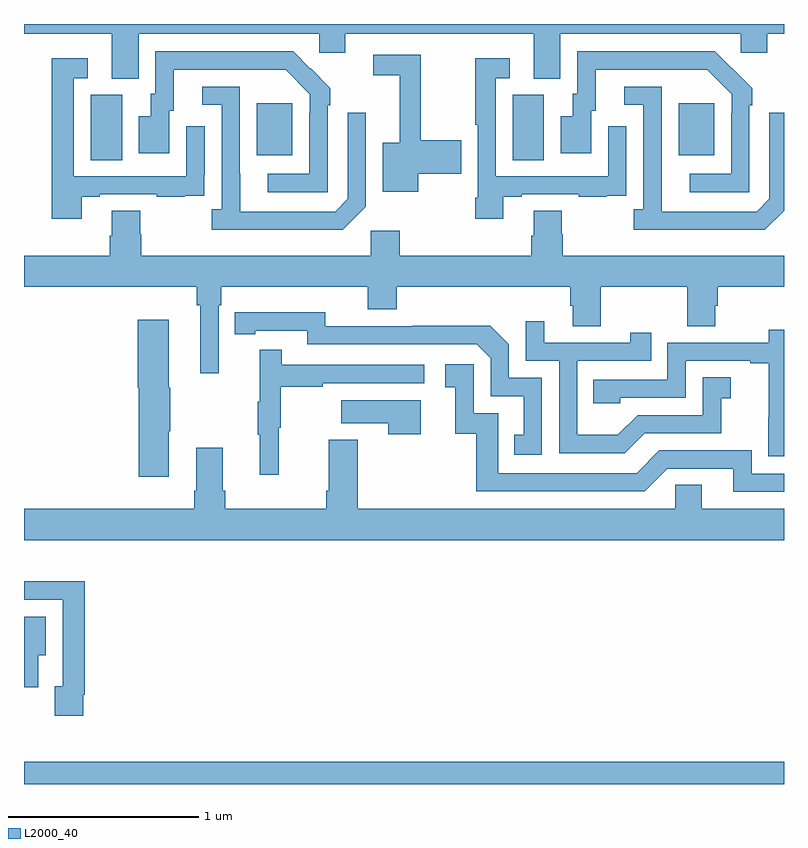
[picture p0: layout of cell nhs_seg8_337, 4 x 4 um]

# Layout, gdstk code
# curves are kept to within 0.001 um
import gdstk
lib = gdstk.Library(unit=1e-6, precision=1e-09)
def R(c, l, rs):  # rectangles x0, y0, x1, y1
    for r in rs: c.add(gdstk.rectangle(r[:2], r[2:], *l))
def P(c, l, *ps):  # polygons
    for p in ps: c.add(gdstk.Polygon(p, *l))
L2000_40 = (2000, 40)

nhs_seg8_337 = lib.new_cell('nhs_seg8_337')
R(nhs_seg8_337, L2000_40, [(133,1097.9,137,1098.016), (133.352,1101.184,133.516,1101.528), (135.572,1101.184,135.736,1101.528), (134.225,1101.209,134.413,1101.484), (136.445,1101.209,136.633,1101.484)])
P(nhs_seg8_337, L2000_40, [(133.603,1101.848),(134.553,1101.848),(134.553,1101.75),(134.692,1101.75),(134.692,1101.848),(135.683,1101.848),(135.683,1101.613),(135.823,1101.613),(135.823,1101.848),(136.773,1101.848),(136.773,1101.75),(136.912,1101.75),(136.912,1101.848),(137,1101.848),(137,1101.9),(133,1101.9),(133,1101.848),(133.463,1101.848),(133.463,1101.613),(133.603,1101.613)],
  [(134.598,1101.473),(134.613,1101.473),(134.613,1101.561),(134.416,1101.756),(133.692,1101.756),(133.692,1101.534),(133.667,1101.534),(133.667,1101.415),(133.604,1101.415),(133.604,1101.219),(133.765,1101.219),(133.765,1101.444),(133.789,1101.444),(133.789,1101.66),(134.377,1101.66),(134.505,1101.531),(134.505,1101.431),(134.502,1101.431),(134.502,1101.111),(134.283,1101.111),(134.283,1101.015),(134.598,1101.015)],
  [(136.818,1101.473),(136.833,1101.473),(136.833,1101.561),(136.636,1101.756),(135.912,1101.756),(135.912,1101.534),(135.887,1101.534),(135.887,1101.415),(135.824,1101.415),(135.824,1101.219),(135.985,1101.219),(135.985,1101.444),(136.009,1101.444),(136.009,1101.66),(136.597,1101.66),(136.725,1101.531),(136.725,1101.431),(136.722,1101.431),(136.722,1101.111),(136.503,1101.111),(136.503,1101.015),(136.818,1101.015)],
  [(135.076,1101.112),(135.301,1101.112),(135.301,1101.287),(135.088,1101.287),(135.088,1101.738),(134.838,1101.738),(134.838,1101.63),(134.978,1101.63),(134.978,1101.274),(134.888,1101.274),(134.888,1101.017),(135.076,1101.017)],
  [(133.303,1100.991),(133.399,1100.991),(133.399,1101.003),(133.699,1101.003),(133.699,1100.991),(133.847,1100.991),(133.847,1100.997),(133.949,1100.997),(133.949,1101.106),(133.95,1101.106),(133.95,1101.361),(133.854,1101.361),(133.854,1101.099),(133.263,1101.099),(133.263,1101.615),(133.336,1101.615),(133.336,1101.721),(133.147,1101.721),(133.147,1100.874),(133.303,1100.874)],
  [(135.523,1100.991),(135.619,1100.991),(135.619,1101.003),(135.919,1101.003),(135.919,1100.991),(136.067,1100.991),(136.067,1100.997),(136.169,1100.997),(136.169,1101.106),(136.17,1101.106),(136.17,1101.361),(136.074,1101.361),(136.074,1101.099),(135.483,1101.099),(135.483,1101.615),(135.556,1101.615),(135.556,1101.721),(135.375,1101.721),(135.375,1101.37),(135.387,1101.37),(135.387,1100.986),(135.374,1100.986),(135.374,1100.874),(135.523,1100.874)],
  [(137,1100.918),(137,1101.433),(136.923,1101.433),(136.923,1100.979),(136.857,1100.913),(136.357,1100.913),(136.356,1101.57),(136.158,1101.57),(136.158,1101.474),(136.26,1101.474),(136.26,1100.926),(136.209,1100.926),(136.209,1100.816),(136.898,1100.816)],
  [(134.799,1100.937),(134.799,1101.433),(134.703,1101.433),(134.703,1100.979),(134.637,1100.913),(134.137,1100.913),(134.136,1101.57),(133.938,1101.57),(133.938,1101.474),(134.04,1101.474),(134.04,1100.926),(133.989,1100.926),(133.989,1100.816),(134.678,1100.816)],
  [(135.875,1100.418),(135.887,1100.418),(135.887,1100.308),(136.035,1100.308),(136.035,1100.516),(136.492,1100.516),(136.492,1100.308),(136.639,1100.308),(136.639,1100.418),(136.652,1100.418),(136.652,1100.516),(137,1100.516),(137,1100.68),(135.836,1100.68),(135.836,1100.793),(135.831,1100.793),(135.831,1100.918),(135.683,1100.918),(135.683,1100.786),(135.671,1100.786),(135.671,1100.68),(134.978,1100.68),(134.978,1100.812),(134.826,1100.812),(134.826,1100.68),(133.616,1100.68),(133.616,1100.793),(133.611,1100.793),(133.611,1100.918),(133.463,1100.918),(133.463,1100.786),(133.451,1100.786),(133.451,1100.68),(133,1100.68),(133,1100.516),(133.909,1100.516),(133.909,1100.42),(133.928,1100.42),(133.928,1100.061),(134.025,1100.061),(134.025,1100.42),(134.039,1100.42),(134.039,1100.516),(134.81,1100.516),(134.81,1100.399),(134.963,1100.399),(134.963,1100.516),(135.875,1100.516)],
  [(135.726,1100.037),(135.552,1100.037),(135.552,1100.214),(135.454,1100.312),(135.046,1100.312),(135.046,1100.31),(134.586,1100.31),(134.586,1100.383),(134.11,1100.382),(134.11,1100.266),(134.218,1100.266),(134.218,1100.286),(134.49,1100.286),(134.49,1100.214),(135.384,1100.214),(135.456,1100.142),(135.456,1099.941),(135.629,1099.941),(135.629,1099.737),(135.58,1099.737),(135.58,1099.632),(135.726,1099.632)],
  [(133.762,1099.756),(133.77,1099.756),(133.77,1099.986),(133.762,1099.986),(133.762,1100.344),(133.598,1100.344),(133.598,1099.986),(133.604,1099.986),(133.604,1099.518),(133.762,1099.518)],
  [(136.267,1099.746),(136.671,1099.746),(136.671,1099.931),(136.72,1099.931),(136.72,1100.041),(136.572,1100.041),(136.572,1099.842),(136.23,1099.842),(136.126,1099.738),(135.912,1099.738),(135.912,1100.127),(136.301,1100.127),(136.301,1100.275),(136.19,1100.275),(136.19,1100.223),(135.739,1100.223),(135.739,1100.335),(135.642,1100.335),(135.642,1100.127),(135.816,1100.127),(135.816,1099.641),(136.162,1099.641)],
  [(137,1100.292),(136.92,1100.292),(136.92,1100.223),(136.386,1100.223),(136.386,1100.028),(135.997,1100.028),(135.997,1099.905),(136.137,1099.905),(136.137,1099.932),(136.482,1099.932),(136.482,1100.127),(136.823,1100.127),(136.823,1100.115),(136.919,1100.115),(136.919,1099.831),(136.918,1099.831),(136.918,1099.625),(137,1099.625)],
  [(134.342,1099.776),(134.35,1099.776),(134.35,1099.99),(134.573,1099.99),(134.573,1100.01),(135.106,1100.01),(135.106,1100.106),(134.357,1100.106),(134.357,1100.185),(134.24,1100.185),(134.24,1099.913),(134.229,1099.913),(134.229,1099.739),(134.24,1099.739),(134.24,1099.527),(134.342,1099.527)],
  [(137,1099.533),(136.83,1099.533),(136.83,1099.656),(136.344,1099.656),(136.224,1099.536),(135.495,1099.536),(135.495,1099.851),(135.366,1099.851),(135.366,1100.11),(135.216,1100.11),(135.216,1099.989),(135.269,1099.989),(135.269,1099.743),(135.379,1099.743),(135.379,1099.44),(136.266,1099.44),(136.386,1099.56),(136.733,1099.56),(136.733,1099.437),(137,1099.437)],
  [(135.088,1099.921),(134.669,1099.921),(134.669,1099.799),(134.918,1099.799),(134.918,1099.74),(135.088,1099.74)],
  [(137,1099.348),(136.567,1099.348),(136.567,1099.475),(136.428,1099.475),(136.428,1099.348),(134.756,1099.348),(134.756,1099.711),(134.603,1099.711),(134.603,1099.444),(134.591,1099.444),(134.591,1099.348),(134.06,1099.348),(134.06,1099.444),(134.047,1099.444),(134.047,1099.669),(133.907,1099.669),(133.907,1099.444),(133.895,1099.444),(133.895,1099.348),(133,1099.348),(133,1099.184),(137,1099.184)],
  [(133.312,1098.37),(133.319,1098.37),(133.319,1098.968),(133.027,1098.968),(133.027,1098.966),(133,1098.966),(133,1098.87),(133.203,1098.87),(133.203,1098.414),(133.163,1098.414),(133.163,1098.258),(133.312,1098.258)],
  [(133.075,1098.578),(133.114,1098.578),(133.114,1098.781),(133,1098.781),(133,1098.41),(133.075,1098.41)])

lib.write_gds('nhs_seg8_337.gds')
